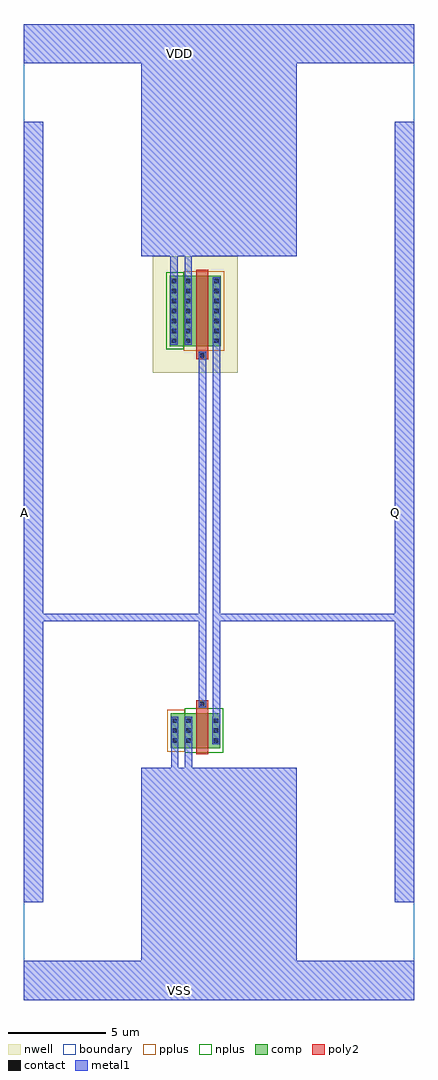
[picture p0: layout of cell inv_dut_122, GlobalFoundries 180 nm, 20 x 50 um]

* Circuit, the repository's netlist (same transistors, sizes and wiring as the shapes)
* inv_dut_122: pfet_03v3 W=3.60u L=0.60u / nfet_03v3 W=1.80u L=0.60u
.SUBCKT inv_dut_122 A Q VDD VSS
MMP Q A VDD VDD pfet_03v3 W=3.60u L=0.60u
MMN Q A VSS VSS nfet_03v3 W=1.80u L=0.60u
.ENDS

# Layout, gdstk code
import gdstk
lib = gdstk.Library(unit=1e-6, precision=1e-09)
def R(c, l, rs):  # rectangles x0, y0, x1, y1
    for r in rs: c.add(gdstk.rectangle(r[:2], r[2:], *l))
def A(c, l, x, y, w, h, nx, ny, dx, dy):  # array of equal rectangles
    R(c, l, [(x+i*dx, y+j*dy, x+i*dx+w, y+j*dy+h) for i in range(nx) for j in range(ny)])
boundary = (0, 0)
nwell = (21, 0)
comp = (22, 0)
poly2 = (30, 0)
pplus = (31, 0)
nplus = (32, 0)
contact = (33, 0)
metal1 = (34, 0)

inv_dut_122 = lib.new_cell('inv_dut_122')
R(inv_dut_122, boundary, [(-10,-25,10,25)])
R(inv_dut_122, nwell, [(-3.395,7.13,0.955,13.09)])
R(inv_dut_122, comp, [(-2.475,-12.1,0.055,-10.3), (-2.535,8.5,0.095,12.1)])
R(inv_dut_122, poly2, [(-1.155,-12.4,-0.555,-9.64), (-1.155,7.82,-0.555,12.4)])
R(inv_dut_122, pplus, [(-2.645,-12.27,-1.765,-10.13), (-1.805,8.26,0.265,12.34)])
R(inv_dut_122, nplus, [(-1.765,-12.34,0.225,-10.06), (-2.705,8.33,-1.805,12.27)])
A(inv_dut_122, contact, -2.375, -11.82, 0.22, 0.22, 1, 3, 0, 0.51)
A(inv_dut_122, contact, -1.665, -11.82, 0.22, 0.22, 1, 3, 0, 0.51)
A(inv_dut_122, contact, -0.265, -11.82, 0.22, 0.22, 1, 3, 0, 0.51)
A(inv_dut_122, contact, -2.415, 8.66, 0.22, 0.22, 1, 7, 0, 0.51)
A(inv_dut_122, contact, -1.685, 8.66, 0.22, 0.22, 1, 7, 0, 0.51)
A(inv_dut_122, contact, -0.245, 8.66, 0.22, 0.22, 1, 7, 0, 0.51)
R(inv_dut_122, contact, [(-0.965,-9.93,-0.745,-9.71), (-0.965,7.9,-0.745,8.12)])
R(inv_dut_122, metal1, [(-10,-25,10,-23), (-3.995,-23,3.995,-13.4), (-10,-20,-9,20), (9,-20,10,20), (-3.995,-13.7,3.995,-13.1), (-2.455,-13.7,-2.075,-10.5), (-1.745,-13.7,-1.365,-10.5), (-2.455,-11.9,-2.075,-10.5), (-1.745,-11.9,-1.365,-10.5), (-0.345,-11.9,0.035,-10.5), (-0.345,-10.88,0.055,-10.5), (-0.325,-10.88,0.055,8.96), (-1.045,-10.01,-0.665,8.2), (-1.045,-10.01,-0.665,-9.63), (-9,-5.6,-3.695,-5.2), (-3.995,-5.6,-0.665,-5.2), (-0.325,-5.6,3.995,-5.2), (3.695,-5.6,9,-5.2), (-1.045,7.82,-0.665,8.2), (-2.495,8.58,-2.115,13.7), (-2.495,8.58,-2.115,12.02), (-1.765,8.58,-1.385,13.7), (-1.765,8.58,-1.385,12.02), (-0.325,8.58,0.055,8.96), (-0.325,8.58,0.055,12.02), (-3.995,13.1,3.995,13.7), (-3.995,13.4,3.995,23), (-10,23,10,25)])
inv_dut_122.add(gdstk.Label('VDD', (-2,23.5), layer=34, texttype=10))
inv_dut_122.add(gdstk.Label('VSS', (-2,-24.5), layer=34, texttype=10))
inv_dut_122.add(gdstk.Label('A', (-9.97,0), layer=34, texttype=10))
inv_dut_122.add(gdstk.Label('Q', (9.03,0), layer=34, texttype=10))

lib.write_gds('inv_dut_122.gds')
